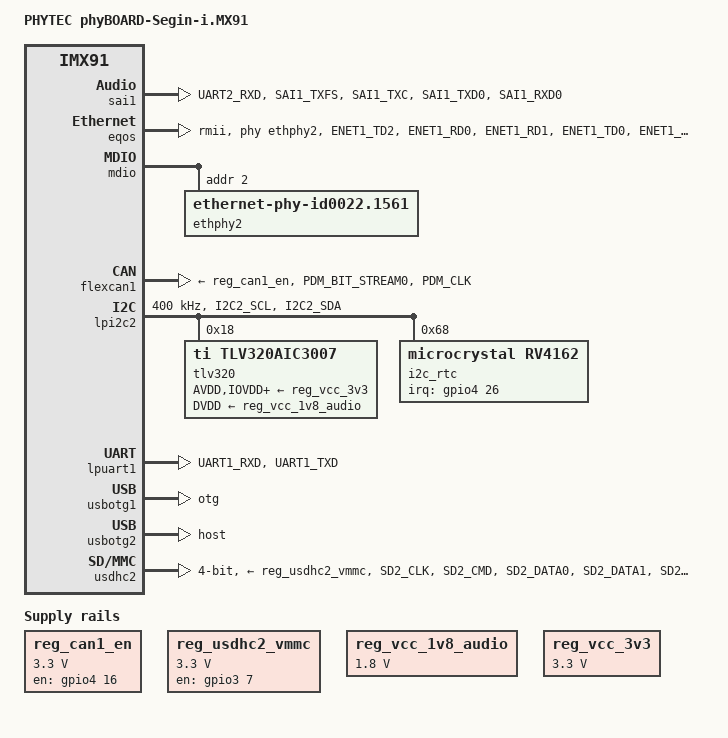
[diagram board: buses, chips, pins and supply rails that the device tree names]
// SPDX-License-Identifier: (GPL-2.0+ OR MIT)
/*
 * Copyright (C) 2025 PHYTEC Messtechnik GmbH
 * Author: Christoph Stoidner <c.stoidner@phytec.de>
 *
 * Product homepage:
 * phyBOARD-Segin carrier board is reused for the i.MX91 design.
 * https://www.phytec.eu/en/produkte/single-board-computer/phyboard-segin-imx6ul/
 */

/dts-v1/;

#include <dt-bindings/usb/pd.h>
#include "imx91-phycore-som.dtsi"

/ {
	model = "PHYTEC phyBOARD-Segin-i.MX91";
	compatible = "phytec,imx91-phyboard-segin",
		     "phytec,imx91-phycore-som", "fsl,imx91";

	chosen {
		stdout-path = &lpuart1;
	};

	/* M-R-SN65HVD234.A0 */
	reg_can1_en: regulator-can1 {
		compatible = "regulator-fixed";
		gpio = <&gpio4 16 GPIO_ACTIVE_HIGH>;
		enable-active-high;
		pinctrl-names = "default";
		pinctrl-0 = <&pinctrl_flexcan1_en>;
		regulator-max-microvolt = <3300000>;
		regulator-min-microvolt = <3300000>;
		regulator-name = "CAN1_EN";
	};

	reg_usdhc2_vmmc: regulator-usdhc2 {
		compatible = "regulator-fixed";
		gpio = <&gpio3 7 GPIO_ACTIVE_HIGH>;
		enable-active-high;
		pinctrl-names = "default";
		pinctrl-0 = <&pinctrl_reg_usdhc2_vmmc>;
		regulator-max-microvolt = <3300000>;
		regulator-min-microvolt = <3300000>;
		regulator-name = "VCC_SD";
	};

	reg_vcc_1v8_audio: regulator-vcc1v8-audio {
		compatible = "regulator-fixed";
		regulator-max-microvolt = <1800000>;
		regulator-min-microvolt = <1800000>;
		regulator-name = "VCC1V8_AUDIO";
	};

	reg_vcc_3v3: regulator-vcc-3v3 {
		compatible = "regulator-fixed";
		regulator-max-microvolt = <3300000>;
		regulator-min-microvolt = <3300000>;
		regulator-name = "VCC3V3";
	};

	sound: sound {
		compatible = "simple-audio-card";
		simple-audio-card,name = "phyBOARD-Segin-TLV320AIC3007";
		simple-audio-card,format = "i2s";
		simple-audio-card,bitclock-master = <&dailink_master>;
		simple-audio-card,frame-master = <&dailink_master>;
		simple-audio-card,widgets =
			"Line", "Line In",
			"Line", "Line Out",
			"Speaker", "Speaker";
		simple-audio-card,routing =
			"Line Out", "LLOUT",
			"Line Out", "RLOUT",
			"Speaker", "SPOP",
			"Speaker", "SPOM",
			"LINE1L", "Line In",
			"LINE1R", "Line In";

		simple-audio-card,cpu {
			sound-dai = <&sai1>;
		};

		dailink_master: simple-audio-card,codec {
			sound-dai = <&tlv320>;
			clocks = <&clk IMX91_CLK_SAI1>;
		};
	};
};

/* Audio */
&sai1 {
	pinctrl-names = "default";
	pinctrl-0 = <&pinctrl_sai1>;
	clocks = <&clk IMX91_CLK_SAI1_IPG>, <&clk IMX91_CLK_DUMMY>,
		<&clk IMX91_CLK_SAI1_GATE>,
		<&clk IMX91_CLK_DUMMY>, <&clk IMX91_CLK_DUMMY>,
		<&clk IMX91_CLK_AUDIO_PLL>;
	clock-names = "bus", "mclk0", "mclk1", "mclk2", "mclk3", "pll8k";
	assigned-clocks = <&clk IMX91_CLK_SAI1>;
	assigned-clock-parents = <&clk IMX91_CLK_AUDIO_PLL>;
	assigned-clock-rates = <19200000>;
	fsl,sai-mclk-direction-output;
	#sound-dai-cells = <0>;
	status = "okay";
};

/* Power-key */
&bbnsm_pwrkey {
	linux,keycode = <KEY_POWER>;
	wakeup-source;
};

/* Ethernet */
&eqos {
	pinctrl-names = "default";
	pinctrl-0 = <&pinctrl_eqos>;
	phy-mode = "rmii";
	phy-handle = <&ethphy2>;
	assigned-clocks = <&clk IMX91_CLK_ENET_TIMER>,
			  <&clk IMX91_CLK_ENET1_QOS_TSN>;
	assigned-clock-parents = <&clk IMX91_CLK_SYS_PLL_PFD1_DIV2>,
				 <&clk IMX91_CLK_SYS_PLL_PFD1_DIV2>;
	assigned-clock-rates = <100000000>, <50000000>;
	status = "okay";
};

/* ENET2 MDIO */
&mdio {
	ethphy2: ethernet-phy@2 {
		reg = <2>;
		micrel,led-mode = <1>;
		compatible = "ethernet-phy-id0022.1561";
		clocks = <&clk IMX91_CLK_ENET2_REGULAR>;
		clock-names = "rmii-ref";
	};
};

/* CAN */
&flexcan1 {
	pinctrl-names = "default";
	pinctrl-0 = <&pinctrl_flexcan1>;
	xceiver-supply = <&reg_can1_en>;
	status = "okay";
};

&lpi2c2 {
	clock-frequency = <400000>;
	pinctrl-names = "default";
	pinctrl-0 = <&pinctrl_lpi2c2>;
	#address-cells = <1>;
	#size-cells = <0>;
	status = "okay";

	tlv320: audio-codec@18 {
		compatible = "ti,tlv320aic3007";
		reg = <0x18>;
		AVDD-supply = <&reg_vcc_3v3>;
		IOVDD-supply = <&reg_vcc_3v3>;
		DRVDD-supply = <&reg_vcc_3v3>;
		DVDD-supply = <&reg_vcc_1v8_audio>;
		#sound-dai-cells = <0>;
	};

	i2c_rtc: rtc@68 {
		compatible = "microcrystal,rv4162";
		reg = <0x68>;
		pinctrl-names = "default";
		pinctrl-0 = <&pinctrl_rtc>;
		interrupt-parent = <&gpio4>;
		interrupts = <26 IRQ_TYPE_LEVEL_LOW>;
	};
};

/* Console */
&lpuart1 {
	pinctrl-names = "default";
	pinctrl-0 = <&pinctrl_uart1>;
	/delete-property/ dmas;
	/delete-property/ dma-names;
	status = "okay";
};

/* USB  */
&usbotg1 {
	disable-over-current;
	dr_mode = "otg";
	status = "okay";
};

&usbotg2 {
	disable-over-current;
	dr_mode = "host";
	status = "okay";
};

&usbphynop1 {
	vcc-supply = <&buck4>;
};

&usbphynop2 {
	vcc-supply = <&buck4>;
};

/* SD-Card */
&usdhc2 {
	pinctrl-names = "default", "state_100mhz", "state_200mhz";
	pinctrl-0 = <&pinctrl_usdhc2_default>, <&pinctrl_usdhc2_cd>;
	pinctrl-1 = <&pinctrl_usdhc2_100mhz>, <&pinctrl_usdhc2_cd>;
	pinctrl-2 = <&pinctrl_usdhc2_200mhz>, <&pinctrl_usdhc2_cd>;
	cd-gpios = <&gpio3 00 GPIO_ACTIVE_LOW>;
	vmmc-supply = <&reg_usdhc2_vmmc>;
	bus-width = <4>;
	disable-wp;
	no-sdio;
	no-mmc;
	status = "okay";
};

&iomuxc {
	pinctrl_sai1: sai1grp {
		fsl,pins = <
			MX91_PAD_UART2_RXD__SAI1_MCLK				0x1202
			MX91_PAD_SAI1_TXFS__SAI1_TX_SYNC			0x1202
			MX91_PAD_SAI1_TXC__SAI1_TX_BCLK				0x1202
			MX91_PAD_SAI1_TXD0__SAI1_TX_DATA0			0x1402
			MX91_PAD_SAI1_RXD0__SAI1_RX_DATA0			0x1402
		>;
	};

	pinctrl_eqos: eqosgrp {
		fsl,pins = <
			MX91_PAD_ENET1_TD2__ENET_QOS_CLOCK_GENERATE_CLK	   0x4000050e
			MX91_PAD_ENET1_RD0__ENET_QOS_RGMII_RD0                  0x57e
			MX91_PAD_ENET1_RD1__ENET_QOS_RGMII_RD1                  0x57e
			MX91_PAD_ENET1_TD0__ENET_QOS_RGMII_TD0                  0x50e
			/* name 'ENET1_RGMII' is missleading, but ref manual sais for
			 * that mux mode (ALT==0x00) it is 'ENET_QOS_RGMII_TD1'.
			 */
			MX91_PAD_ENET1_TD1__ENET1_RGMII_TD1			0x50e
			MX91_PAD_ENET1_RX_CTL__ENET_QOS_RGMII_RX_CTL            0x57e
			MX91_PAD_ENET1_TX_CTL__ENET_QOS_RGMII_TX_CTL            0x50e
			MX91_PAD_ENET1_RXC__ENET_QOS_RX_ER                      0x57e
		>;
	};

	pinctrl_lpi2c2: lpi2c2grp {
		fsl,pins = <
			MX91_PAD_I2C2_SCL__LPI2C2_SCL			0x40000b9e
			MX91_PAD_I2C2_SDA__LPI2C2_SDA			0x40000b9e
		>;
	};

	pinctrl_uart1: uart1grp {
		fsl,pins = <
			MX91_PAD_UART1_RXD__LPUART1_RX			0x31e
			MX91_PAD_UART1_TXD__LPUART1_TX			0x30e
		>;
	};

	pinctrl_reg_usdhc2_vmmc: regusdhc2vmmcgrp {
		fsl,pins = <
			MX91_PAD_SD2_RESET_B__GPIO3_IO7		0x31e
		>;
	};

	pinctrl_usdhc2_cd: usdhc2cdgrp {
		fsl,pins = <
			MX91_PAD_SD2_CD_B__GPIO3_IO0		0x31e
		>;
	};

	pinctrl_usdhc2_default: usdhc2grp {
		fsl,pins = <
			MX91_PAD_SD2_CLK__USDHC2_CLK		0x159e
			MX91_PAD_SD2_CMD__USDHC2_CMD		0x139e
			MX91_PAD_SD2_DATA0__USDHC2_DATA0	0x138e
			MX91_PAD_SD2_DATA1__USDHC2_DATA1	0x138e
			MX91_PAD_SD2_DATA2__USDHC2_DATA2	0x138e
			MX91_PAD_SD2_DATA3__USDHC2_DATA3	0x139e
			MX91_PAD_SD2_VSELECT__USDHC2_VSELECT	0x51e
		>;
	};

	pinctrl_usdhc2_100mhz: usdhc2-100mhzgrp {
		fsl,pins = <
			MX91_PAD_SD2_CLK__USDHC2_CLK            0x159e
			MX91_PAD_SD2_CMD__USDHC2_CMD            0x139e
			MX91_PAD_SD2_DATA0__USDHC2_DATA0        0x138e
			MX91_PAD_SD2_DATA1__USDHC2_DATA1        0x138e
			MX91_PAD_SD2_DATA2__USDHC2_DATA2        0x139e
			MX91_PAD_SD2_DATA3__USDHC2_DATA3        0x139e
			MX91_PAD_SD2_VSELECT__USDHC2_VSELECT    0x51e
		>;
	};

	pinctrl_usdhc2_200mhz: usdhc2-200mhzgrp {
		fsl,pins = <
			MX91_PAD_SD2_CLK__USDHC2_CLK            0x158e
			MX91_PAD_SD2_CMD__USDHC2_CMD            0x139e
			MX91_PAD_SD2_DATA0__USDHC2_DATA0        0x139e
			MX91_PAD_SD2_DATA1__USDHC2_DATA1        0x139e
			MX91_PAD_SD2_DATA2__USDHC2_DATA2        0x139e
			MX91_PAD_SD2_DATA3__USDHC2_DATA3        0x139e
			MX91_PAD_SD2_VSELECT__USDHC2_VSELECT    0x51e
		>;
	};

	pinctrl_rtc: rtcgrp {
		fsl,pins = <
			MX91_PAD_ENET2_RD2__GPIO4_IO26		0x31e
		>;
	};

	pinctrl_flexcan1: flexcan1grp {
		fsl,pins = <
			MX91_PAD_PDM_BIT_STREAM0__CAN1_RX	0x139e
			MX91_PAD_PDM_CLK__CAN1_TX		0x1382
		>;
	};

	pinctrl_flexcan1_en: flexcan1engrp {
		fsl,pins = <
			MX91_PAD_ENET2_TD3__GPIO4_IO16		0x31e
		>;
	};
};
